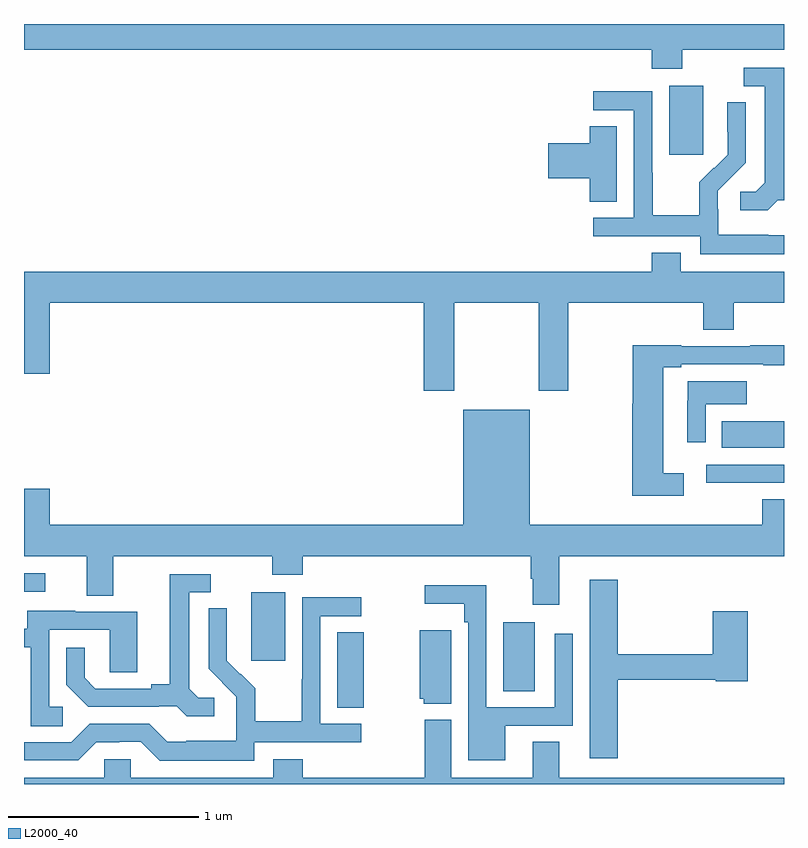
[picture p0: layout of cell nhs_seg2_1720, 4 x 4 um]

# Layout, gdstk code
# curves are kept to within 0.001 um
import gdstk
lib = gdstk.Library(unit=1e-6, precision=1e-09)
def R(c, l, rs):  # rectangles x0, y0, x1, y1
    for r in rs: c.add(gdstk.rectangle(r[:2], r[2:], *l))
def P(c, l, *ps):  # polygons
    for p in ps: c.add(gdstk.Polygon(p, *l))
L2000_40 = (2000, 40)

nhs_seg2_1720 = lib.new_cell('nhs_seg2_1720')
R(nhs_seg2_1720, L2000_40, [(202.649,616.201,202.788,616.598), (203.522,616.288,203.689,616.651), (202.196,616.449,202.375,616.81), (201,616.812,201.112,616.908), (204.591,617.385,205,617.481), (204.673,617.57,205,617.71), (204.395,619.113,204.574,619.474)])
P(nhs_seg2_1720, L2000_40, [(204.465,619.664),(205,619.664),(205,619.8),(201,619.8),(201,619.664),(204.305,619.664),(204.305,619.565),(204.465,619.565)],
  [(204.966,618.873),(205,618.873),(205,619.569),(204.789,619.569),(204.789,619.473),(204.899,619.473),(204.899,618.965),(204.852,618.918),(204.771,618.918),(204.771,618.821),(204.914,618.821)],
  [(205,618.687),(204.917,618.687),(204.917,618.691),(204.654,618.691),(204.654,618.825),(204.652,618.825),(204.652,618.922),(204.798,619.07),(204.798,619.388),(204.702,619.388),(204.702,619.234),(204.704,619.234),(204.704,619.112),(204.633,619.041),(204.63,619.044),(204.553,618.967),(204.553,618.793),(204.309,618.793),(204.309,619.016),(204.306,619.016),(204.306,619.446),(203.997,619.446),(203.997,619.347),(204.21,619.347),(204.21,618.78),(203.997,618.78),(203.997,618.684),(204.558,618.684),(204.558,618.587),(205,618.587)],
  [(204.121,619.262),(203.978,619.262),(203.978,619.172),(203.76,619.172),(203.76,618.989),(203.978,618.989),(203.978,618.865),(204.121,618.865)],
  [(201,617.958),(201.136,617.958),(201.136,618.332),(203.105,618.332),(203.105,617.871),(203.265,617.871),(203.265,618.332),(203.71,618.332),(203.71,617.871),(203.865,617.871),(203.865,618.332),(204.575,618.332),(204.575,618.19),(204.735,618.19),(204.735,618.332),(205,618.332),(205,618.496),(204.457,618.496),(204.457,618.595),(204.305,618.595),(204.305,618.496),(201,618.496)],
  [(204.472,617.435),(204.364,617.435),(204.364,617.993),(204.46,617.993),(204.46,618.009),(204.892,618.009),(204.892,618.004),(205,618.004),(205,618.108),(204.823,618.108),(204.823,618.105),(204.46,618.105),(204.46,618.108),(204.205,618.108),(204.205,617.802),(204.2,617.802),(204.2,617.318),(204.472,617.318)],
  [(204.588,617.798),(204.805,617.798),(204.805,617.919),(204.493,617.919),(204.493,617.816),(204.492,617.816),(204.492,617.598),(204.588,617.598)],
  [(203.818,617),(205,617),(205,617.3),(204.886,617.3),(204.886,617.164),(203.662,617.164),(203.662,617.77),(203.312,617.77),(203.312,617.164),(201.136,617.164),(201.136,617.353),(201,617.353),(201,617),(201.329,617),(201.329,616.792),(201.469,616.792),(201.469,617),(202.306,617),(202.306,616.901),(202.466,616.901),(202.466,617),(203.666,617),(203.666,616.88),(203.678,616.88),(203.678,616.743),(203.818,616.743)],
  [(202,616.254),(201.918,616.254),(201.871,616.301),(201.871,616.809),(201.982,616.809),(201.982,616.905),(201.767,616.905),(201.767,616.325),(201.671,616.325),(201.671,616.302),(201.376,616.302),(201.319,616.359),(201.319,616.516),(201.222,616.516),(201.222,616.322),(201.338,616.206),(201.71,616.206),(201.71,616.209),(201.804,616.209),(201.856,616.157),(202,616.157)],
  [(204.125,616.348),(204.642,616.348),(204.642,616.34),(204.809,616.34),(204.809,616.708),(204.626,616.708),(204.626,616.484),(204.125,616.484),(204.125,616.876),(203.978,616.876),(203.978,615.936),(204.125,615.936)],
  [(203.533,616.107),(203.889,616.107),(203.889,616.591),(203.793,616.591),(203.793,616.203),(203.433,616.203),(203.433,616.846),(203.109,616.846),(203.109,616.748),(203.317,616.748),(203.317,616.652),(203.337,616.652),(203.337,615.926),(203.533,615.926)],
  [(202.212,616.02),(202.774,616.02),(202.774,616.116),(202.56,616.116),(202.56,616.683),(202.774,616.683),(202.774,616.782),(202.464,616.782),(202.464,616.352),(202.462,616.352),(202.462,616.129),(202.217,616.129),(202.217,616.303),(202.14,616.38),(202.137,616.377),(202.067,616.448),(202.068,616.724),(201.972,616.724),(201.972,616.406),(202.118,616.258),(202.118,616.161),(202.116,616.161),(202.116,616.027),(201.853,616.027),(201.853,616.023),(201.753,616.023),(201.66,616.116),(201.345,616.116),(201.249,616.02),(201,616.02),(201,615.924),(201.285,615.924),(201.381,616.02),(201.5,616.02),(201.5,616.023),(201.615,616.023),(201.715,615.923),(202.212,615.923)],
  [(201.205,616.206),(201.132,616.206),(201.132,616.611),(201.45,616.611),(201.45,616.387),(201.595,616.387),(201.595,616.707),(201.271,616.707),(201.271,616.711),(201.017,616.711),(201.017,616.617),(201,616.617),(201,616.521),(201.036,616.521),(201.036,616.105),(201.205,616.105)],
  [(203.248,616.609),(203.084,616.609),(203.084,616.248),(203.103,616.248),(203.103,616.223),(203.248,616.223)],
  [(205,615.832),(203.818,615.832),(203.818,616.022),(203.678,616.022),(203.678,615.832),(203.248,615.832),(203.248,616.138),(203.11,616.138),(203.11,615.832),(202.466,615.832),(202.466,615.931),(202.313,615.931),(202.313,615.832),(201.561,615.832),(201.561,615.93),(201.423,615.93),(201.423,615.832),(201,615.832),(201,615.8),(205,615.8)])

lib.write_gds('nhs_seg2_1720.gds')
